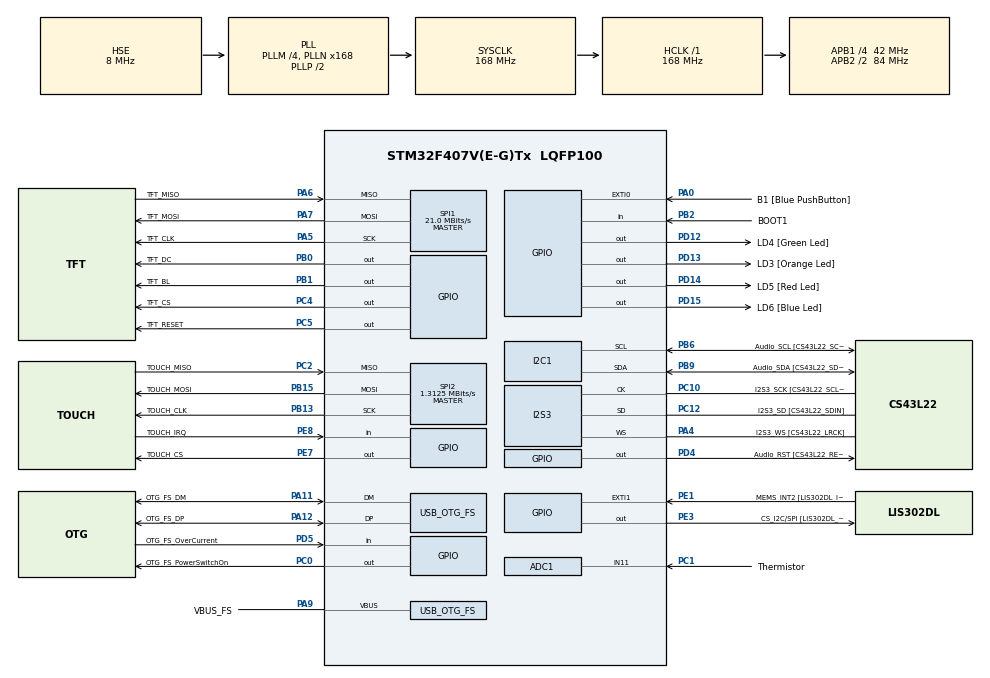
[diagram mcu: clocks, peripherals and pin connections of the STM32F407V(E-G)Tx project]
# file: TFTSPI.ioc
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ADC1.Channel-0\#ChannelRegularConversion=ADC_CHANNEL_11
ADC1.Channel-1\#ChannelRegularConversion=ADC_CHANNEL_TEMPSENSOR
ADC1.ClockPrescaler=ADC_CLOCK_SYNC_PCLK_DIV8
ADC1.ContinuousConvMode=ENABLE
ADC1.DMAContinuousRequests=ENABLE
ADC1.NbrOfConversion=2
ADC1.NbrOfConversionFlag=1
ADC1.Rank-0\#ChannelRegularConversion=1
ADC1.Rank-1\#ChannelRegularConversion=2
ADC1.SamplingTime-0\#ChannelRegularConversion=ADC_SAMPLETIME_112CYCLES
ADC1.SamplingTime-1\#ChannelRegularConversion=ADC_SAMPLETIME_112CYCLES
ADC1.ScanConvMode=ENABLE
ADC1.master=1
Dma.ADC1.0.Direction=DMA_PERIPH_TO_MEMORY
Dma.ADC1.0.FIFOMode=DMA_FIFOMODE_ENABLE
Dma.ADC1.0.FIFOThreshold=DMA_FIFO_THRESHOLD_FULL
Dma.ADC1.0.Instance=DMA2_Stream0
Dma.ADC1.0.MemBurst=DMA_MBURST_SINGLE
Dma.ADC1.0.MemDataAlignment=DMA_MDATAALIGN_WORD
Dma.ADC1.0.MemInc=DMA_MINC_ENABLE
Dma.ADC1.0.Mode=DMA_CIRCULAR
Dma.ADC1.0.PeriphBurst=DMA_PBURST_SINGLE
Dma.ADC1.0.PeriphDataAlignment=DMA_PDATAALIGN_WORD
Dma.ADC1.0.PeriphInc=DMA_PINC_DISABLE
Dma.ADC1.0.Priority=DMA_PRIORITY_LOW
Dma.Request0=ADC1
I2S3.AudioFreq=I2S_AUDIOFREQ_96K
I2S3.ErrorAudioFreq=1.72 %
I2S3.FullDuplexMode=I2S_FULLDUPLEXMODE_DISABLE
I2S3.Instance=SPI$Index
I2S3.RealAudioFreq=97.656 KHz
I2S3.VirtualMode=I2S_MODE_MASTER
Mcu.Family=STM32F4
Mcu.Name=STM32F407V(E-G)Tx
Mcu.Package=LQFP100
NVIC.DMA2_Stream0_IRQn=true\:0\:0\:false\:false\:true\:false\:true
NVIC.OTG_FS_IRQn=true\:0\:0\:false\:false\:true\:true\:true
NVIC.PriorityGroup=NVIC_PRIORITYGROUP_0
PA0-WKUP.GPIO_Label=B1 [Blue PushButton]
PA0-WKUP.GPIO_ModeDefaultEXTI=GPIO_MODE_EVT_RISING
PA0-WKUP.GPIO_PuPd=GPIO_NOPULL
PA0-WKUP.Signal=GPXTI0
PA10.GPIO_Label=OTG_FS_ID
PA10.GPIO_Mode=GPIO_MODE_AF_PP
PA10.GPIO_PuPd=GPIO_NOPULL
PA10.GPIO_Speed=GPIO_SPEED_FREQ_LOW
PA10.Signal=USB_OTG_FS_ID
PA11.GPIO_Label=OTG_FS_DM
PA11.GPIO_Mode=GPIO_MODE_AF_PP
PA11.GPIO_PuPd=GPIO_NOPULL
PA11.GPIO_Speed=GPIO_SPEED_FREQ_LOW
PA11.Mode=Host_Only
PA11.Signal=USB_OTG_FS_DM
PA12.GPIO_Label=OTG_FS_DP
PA12.GPIO_Mode=GPIO_MODE_AF_PP
PA12.GPIO_PuPd=GPIO_NOPULL
PA12.GPIO_Speed=GPIO_SPEED_FREQ_LOW
PA12.Mode=Host_Only
PA12.Signal=USB_OTG_FS_DP
PA13.GPIO_Label=SWDIO
PA13.Mode=Serial_Wire
PA13.Signal=SYS_JTMS-SWDIO
PA14.GPIO_Label=SWCLK
PA14.Mode=Serial_Wire
PA14.Signal=SYS_JTCK-SWCLK
PA4.GPIO_Label=I2S3_WS [CS43L22_LRCK]
PA4.GPIO_Mode=GPIO_MODE_AF_PP
PA4.GPIO_PuPd=GPIO_NOPULL
PA4.GPIO_Speed=GPIO_SPEED_FREQ_LOW
PA4.Mode=Half_Duplex_Master
PA4.Signal=I2S3_WS
PA5.GPIO_Label=TFT_CLK
PA5.Mode=Full_Duplex_Master
PA5.Signal=SPI1_SCK
PA6.GPIO_Label=TFT_MISO
PA6.GPIO_Mode=GPIO_MODE_AF_PP
PA6.GPIO_PuPd=GPIO_NOPULL
PA6.GPIO_Speed=GPIO_SPEED_FREQ_LOW
PA6.Mode=Full_Duplex_Master
PA6.Signal=SPI1_MISO
PA7.GPIO_Label=TFT_MOSI
PA7.GPIO_Mode=GPIO_MODE_AF_PP
PA7.GPIO_PuPd=GPIO_NOPULL
PA7.GPIO_Speed=GPIO_SPEED_FREQ_LOW
PA7.Mode=Full_Duplex_Master
PA7.Signal=SPI1_MOSI
PA9.GPIO_Label=VBUS_FS
PA9.GPIO_Mode=GPIO_MODE_INPUT
PA9.GPIO_PuPd=GPIO_NOPULL
PA9.Mode=Activate_VBUS
PA9.Signal=USB_OTG_FS_VBUS
PB0.GPIO_Label=TFT_DC
PB0.Signal=GPIO_Output
PB1.GPIO_Label=TFT_BL
PB1.Signal=GPIO_Output
PB10.GPIO_Label=CLK_IN [MP45DT02_CLK]
PB10.GPIO_Mode=GPIO_MODE_AF_PP
PB10.GPIO_PuPd=GPIO_NOPULL
PB10.GPIO_Speed=GPIO_SPEED_FREQ_LOW
PB10.Signal=I2S2_CK
PB13.GPIO_Label=TOUCH_CLK
PB13.Mode=Full_Duplex_Master
PB13.Signal=SPI2_SCK
PB15.GPIO_Label=TOUCH_MOSI
PB15.Mode=Full_Duplex_Master
PB15.Signal=SPI2_MOSI
PB2.GPIO_Label=BOOT1
PB2.GPIO_Mode=GPIO_MODE_INPUT
PB2.GPIO_PuPd=GPIO_NOPULL
PB2.Signal=GPIO_Input
PB3.GPIO_Label=SWO
PB3.Signal=SYS_JTDO-SWO
PB6.GPIO_Label=Audio_SCL [CS43L22_SCL]
PB6.GPIO_Mode=GPIO_MODE_AF_OD
PB6.GPIO_Pu=GPIO_PULLUP
PB6.GPIO_PuPd=GPIO_NOPULL
PB6.GPIO_Speed=GPIO_SPEED_FREQ_LOW
PB6.Mode=I2C
PB6.Signal=I2C1_SCL
PB9.GPIO_Label=Audio_SDA [CS43L22_SDA]
PB9.GPIO_Mode=GPIO_MODE_AF_OD
PB9.GPIO_Pu=GPIO_PULLUP
PB9.GPIO_PuPd=GPIO_NOPULL
PB9.GPIO_Speed=GPIO_SPEED_FREQ_LOW
PB9.Mode=I2C
PB9.Signal=I2C1_SDA
PC0.GPIO_Label=OTG_FS_PowerSwitchOn
PC0.GPIO_PuPd=GPIO_NOPULL
PC0.GPIO_Speed=GPIO_SPEED_FREQ_LOW
PC0.PinState=GPIO_PIN_SET
PC0.Signal=GPIO_Output
PC1.GPIO_Label=Thermistor
PC1.Signal=ADCx_IN11
PC10.GPIO_Label=I2S3_SCK [CS43L22_SCLK]
PC10.GPIO_Mode=GPIO_MODE_AF_PP
PC10.GPIO_PuPd=GPIO_NOPULL
PC10.GPIO_Speed=GPIO_SPEED_FREQ_LOW
PC10.Mode=Half_Duplex_Master
PC10.Signal=I2S3_CK
PC12.GPIO_Label=I2S3_SD [CS43L22_SDIN]
PC12.GPIO_Mode=GPIO_MODE_AF_PP
PC12.GPIO_PuPd=GPIO_NOPULL
PC12.GPIO_Speed=GPIO_SPEED_FREQ_LOW
PC12.Mode=Half_Duplex_Master
PC12.Signal=I2S3_SD
PC14-OSC32_IN.GPIO_Label=PC14-OSC32_IN
PC14-OSC32_IN.Mode=LSE-External-Oscillator
PC14-OSC32_IN.Signal=RCC_OSC32_IN
PC15-OSC32_OUT.GPIO_Label=PC15-OSC32_OUT
PC15-OSC32_OUT.Mode=LSE-External-Oscillator
PC15-OSC32_OUT.Signal=RCC_OSC32_OUT
PC2.GPIO_Label=TOUCH_MISO
PC2.Mode=Full_Duplex_Master
PC2.Signal=SPI2_MISO
PC3.GPIO_Label=PDM_OUT [MP45DT02_DOUT]
PC3.GPIO_Mode=GPIO_MODE_AF_PP
PC3.GPIO_PuPd=GPIO_NOPULL
PC3.GPIO_Speed=GPIO_SPEED_FREQ_LOW
PC3.Signal=I2S2_SD
PC4.GPIO_Label=TFT_CS
PC4.Signal=GPIO_Output
PC5.GPIO_Label=TFT_RESET
PC5.Signal=GPIO_Output
PC7.GPIO_Label=I2S3_MCK [CS43L22_MCLK]
PC7.GPIO_Mode=GPIO_MODE_AF_PP
PC7.GPIO_PuPd=GPIO_NOPULL
PC7.GPIO_Speed=GPIO_SPEED_FREQ_LOW
PC7.Signal=I2S3_MCK
PD12.GPIO_Label=LD4 [Green Led]
PD12.GPIO_PuPd=GPIO_NOPULL
PD12.GPIO_Speed=GPIO_SPEED_FREQ_LOW
PD12.Signal=GPIO_Output
PD13.GPIO_Label=LD3 [Orange Led]
PD13.GPIO_PuPd=GPIO_NOPULL
PD13.GPIO_Speed=GPIO_SPEED_FREQ_LOW
PD13.Signal=GPIO_Output
PD14.GPIO_Label=LD5 [Red Led]
PD14.GPIO_PuPd=GPIO_NOPULL
PD14.GPIO_Speed=GPIO_SPEED_FREQ_LOW
PD14.Signal=GPIO_Output
PD15.GPIO_Label=LD6 [Blue Led]
PD15.GPIO_PuPd=GPIO_NOPULL
PD15.GPIO_Speed=GPIO_SPEED_FREQ_LOW
PD15.Signal=GPIO_Output
PD4.GPIO_Label=Audio_RST [CS43L22_RESET]
PD4.GPIO_PuPd=GPIO_NOPULL
PD4.GPIO_Speed=GPIO_SPEED_FREQ_LOW
PD4.Signal=GPIO_Output
PD5.GPIO_Label=OTG_FS_OverCurrent
PD5.GPIO_Mode=GPIO_MODE_INPUT
PD5.GPIO_PuPd=GPIO_NOPULL
PD5.Signal=GPIO_Input
PE1.GPIO_Label=MEMS_INT2 [LIS302DL_INT2]
PE1.GPIO_ModeDefaultEXTI=GPIO_MODE_EVT_RISING
PE1.GPIO_PuPd=GPIO_NOPULL
PE1.Signal=GPXTI1
PE3.GPIO_Label=CS_I2C/SPI [LIS302DL_CS_I2C/SPI]
PE3.GPIO_PuPd=GPIO_NOPULL
PE3.GPIO_Speed=GPIO_SPEED_FREQ_LOW
PE3.Signal=GPIO_Output
PE7.GPIO_Label=TOUCH_CS
PE7.Signal=GPIO_Output
PE8.GPIO_Label=TOUCH_IRQ
PE8.Signal=GPIO_Input
PH0-OSC_IN.GPIO_Label=PH0-OSC_IN
PH0-OSC_IN.Mode=HSE-External-Oscillator
PH0-OSC_IN.Signal=RCC_OSC_IN
PH1-OSC_OUT.GPIO_Label=PH1-OSC_OUT
PH1-OSC_OUT.Mode=HSE-External-Oscillator
PH1-OSC_OUT.Signal=RCC_OSC_OUT
ProjectManager.HeapSize=0x200
ProjectManager.StackSize=0x400
ProjectManager.TargetToolchain=STM32CubeIDE
RCC.48MHZClocksFreq_Value=48000000
RCC.AHBFreq_Value=168000000
RCC.APB1CLKDivider=RCC_HCLK_DIV4
RCC.APB1Freq_Value=42000000
RCC.APB1TimFreq_Value=84000000
RCC.APB2CLKDivider=RCC_HCLK_DIV2
RCC.APB2Freq_Value=84000000
RCC.APB2TimFreq_Value=168000000
RCC.CortexFreq_Value=168000000
RCC.HCLKFreq_Value=168000000
RCC.HSE_VALUE=8000000
RCC.HSI_VALUE=16000000
RCC.PLLI2SN=50
RCC.PLLM=4
RCC.PLLN=168
RCC.PLLQ=7
RCC.SYSCLKFreq_VALUE=168000000
RCC.SYSCLKSource=RCC_SYSCLKSOURCE_PLLCLK
RCC.VCOOutputFreq_Value=336000000
SH.ADCx_IN11.0=ADC1_IN11,IN11
SPI1.BaudRatePrescaler=SPI_BAUDRATEPRESCALER_4
SPI1.CalculateBaudRate=21.0 MBits/s
SPI1.Direction=SPI_DIRECTION_2LINES
SPI1.Mode=SPI_MODE_MASTER
SPI1.VirtualType=VM_MASTER
SPI2.BaudRatePrescaler=SPI_BAUDRATEPRESCALER_32
SPI2.CalculateBaudRate=1.3125 MBits/s
SPI2.Direction=SPI_DIRECTION_2LINES
SPI2.Mode=SPI_MODE_MASTER
SPI2.VirtualType=VM_MASTER
USB_HOST.BSP.number=1
USB_HOST.USBH_HandleTypeDef-CDC_FS=hUsbHostFS
USB_HOST.VirtualModeFS=Cdc
USB_HOST0.BSP.STBoard=false
USB_HOST0.BSP.api=Unknown
USB_HOST0.BSP.i2caddr=0
USB_HOST0.BSP.i2creg=0
USB_HOST0.BSP.instance=PC0
USB_HOST0.BSP.ip=GPIO
USB_HOST0.BSP.mode=Output
USB_HOST0.BSP.name=Drive_VBUS_FS
USB_HOST0.BSP.solution=PC0
USB_OTG_FS.VirtualMode=Host_Only
USB_OTG_FS.phy_itface=HCD_PHY_EMBEDDED
VP_ADC1_TempSens_Input.Mode=IN-TempSens
VP_CRC_VS_CRC.Mode=CRC_Activate
VP_USB_HOST_VS_USB_HOST_CDC_FS.Mode=CDC_FS
board=STM32F407G-DISC1

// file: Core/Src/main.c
/* USER CODE BEGIN Header */
/**
  ******************************************************************************
  * @file           : main.c
  * @brief          : Main program body
  ******************************************************************************
  * @attention
  *
  * <h2><center>&copy; Copyright (c) 2021 STMicroelectronics.
  * All rights reserved.</center></h2>
  *
  * This software component is licensed by ST under Ultimate Liberty license
  * SLA0044, the "License"; You may not use this file except in compliance with
  * the License. You may obtain a copy of the License at:
  *                             www.st.com/SLA0044
  *
  ******************************************************************************
  */
/* USER CODE END Header */
#include "main.h"
#include "usb_host.h"

/* USER CODE BEGIN Includes */
#include <stdio.h>
#include <math.h>
#include "GUI.h"
#include "DIALOG.h"
/* USER CODE END Includes */

ADC_HandleTypeDef hadc1;
DMA_HandleTypeDef hdma_adc1;

CRC_HandleTypeDef hcrc;

I2C_HandleTypeDef hi2c1;

I2S_HandleTypeDef hi2s3;

SPI_HandleTypeDef hspi1;
SPI_HandleTypeDef hspi2;

/* USER CODE BEGIN PV */
uint32_t thermValue = 0;
uint32_t tempValue = 0;

uint32_t dataArray[200];

float thermistorTemperature = 0.0;
float dieTemperature = 0.0;

char dataOut[16];

extern const GUI_BITMAP bmlemmling_Cartoon_penguin_small;
/* USER CODE END PV */

void SystemClock_Config(void);
static void MX_GPIO_Init(void);
static void MX_I2C1_Init(void);
static void MX_I2S3_Init(void);
static void MX_SPI1_Init(void);
static void MX_DMA_Init(void);
static void MX_ADC1_Init(void);
static void MX_SPI2_Init(void);
static void MX_CRC_Init(void);
void MX_USB_HOST_Process(void);

/* USER CODE BEGIN PFP */
int __io_putchar(int ch);
float  approximateTemperatureFloat(unsigned int analogReadValue);
float GetDieTemp(uint32_t reading);
/* USER CODE END PFP */

int main(void)
{
  /* USER CODE BEGIN 1 */
	//GUI_HSPRITE hSprite;
  /* USER CODE END 1 */

  /* MCU Configuration--------------------------------------------------------*/

  /* Reset of all peripherals, Initializes the Flash interface and the Systick. */
  HAL_Init();

  /* Configure the system clock */
  SystemClock_Config();

  /* Initialize all configured peripherals */
  MX_GPIO_Init();
  MX_I2C1_Init();
  MX_I2S3_Init();
  MX_SPI1_Init();
  MX_USB_HOST_Init();
  MX_DMA_Init();
  MX_ADC1_Init();
  MX_SPI2_Init();
  MX_CRC_Init();
  /* USER CODE BEGIN 2 */
  GUI_Init();

  GUI_SetBkColor(GUI_BLUE);
  GUI_Clear();
  GUI_SetFont(&GUI_Font32B_ASCII);
  GUI_SetColor(GUI_YELLOW);

#ifdef ILI9341
  GUI_DispStringHCenterAt("ECET260", 160, 50);
  GUI_DispStringHCenterAt("Mel Dundas", 160, 100);
#elif defined ILI9488
  GUI_DispStringHCenterAt("ECET260", 240, 50);
  GUI_DispStringHCenterAt("Mel Dundas", 240, 100);
#else // defined ST7735
  GUI_SetFont(&GUI_Font20B_ASCII);
  GUI_DispStringHCenterAt("ECET260", 80, 20);
  GUI_DispStringHCenterAt("Mel Dundas", 80, 50);
#endif
  //GUI_SetFont(&GUI_FontD24x32);
  GUI_SetFont(&GUI_Font32B_1);
  GUI_SetColor(GUI_WHITE);

  //hSprite = GUI_DRAW_BITMAP_Create(&bmlemmling_Cartoon_penguin_small, 160-30,120-30);
  //GUI_DRAW_BITMAP_Create(&bmlemmling_Cartoon_penguin_small, 160-30,120-30);

  /* USER CODE END 2 */

  /* Infinite loop */
  /* USER CODE BEGIN WHILE */

  HAL_ADC_Start_DMA(&hadc1, dataArray, 200);

  while (1)
  {

	  HAL_GPIO_TogglePin(LD3_GPIO_Port, LD3_Pin);
	  HAL_Delay(500);

	  thermValue = 0;
	  tempValue = 0;

	  for(int i=0;i<200;i+=2)
	  {
		  thermValue += dataArray[i];
	  }

	  for(int i=1;i<200;i+=2)
	  {
		  tempValue +=dataArray[i];
	  }

	  thermistorTemperature = approximateTemperatureFloat(thermValue /= 100);
	  dieTemperature = GetDieTemp(tempValue /= 100);

	  printf("Thermistor value: %ld, Temp: %0.1f", thermValue, thermistorTemperature );
	  printf("    Die value: %ld, Die Temp: %0.1f\n", tempValue, dieTemperature);

	  sprintf(dataOut, "%0.1f %cC", thermistorTemperature, 176);

#ifdef ILI9488
	  GUI_DispStringHCenterAt(dataOut, 240,  200);
#elif defined  ST7735
	  GUI_DispStringHCenterAt(dataOut, 80,  80);
#else
	  GUI_DispStringHCenterAt(dataOut, 160,  180);
#endif
	  GUI_Exec();

	  GUI_Delay(200);

    /* USER CODE END WHILE */
    MX_USB_HOST_Process();

  }
}

void SystemClock_Config(void)
{
  RCC_OscInitTypeDef RCC_OscInitStruct = {0};
  RCC_ClkInitTypeDef RCC_ClkInitStruct = {0};

  /** Configure the main internal regulator output voltage
  */
  __HAL_RCC_PWR_CLK_ENABLE();
  __HAL_PWR_VOLTAGESCALING_CONFIG(PWR_REGULATOR_VOLTAGE_SCALE1);
  /** Initializes the RCC Oscillators according to the specified parameters
  * in the RCC_OscInitTypeDef structure.
  */
  RCC_OscInitStruct.OscillatorType = RCC_OSCILLATORTYPE_HSE;
  RCC_OscInitStruct.HSEState = RCC_HSE_ON;
  RCC_OscInitStruct.PLL.PLLState = RCC_PLL_ON;
  RCC_OscInitStruct.PLL.PLLSource = RCC_PLLSOURCE_HSE;
  RCC_OscInitStruct.PLL.PLLM = 4;
  RCC_OscInitStruct.PLL.PLLN = 168;
  RCC_OscInitStruct.PLL.PLLP = RCC_PLLP_DIV2;
  RCC_OscInitStruct.PLL.PLLQ = 7;
  if (HAL_RCC_OscConfig(&RCC_OscInitStruct) != HAL_OK)
  {
    Error_Handler();
  }
  /** Initializes the CPU, AHB and APB buses clocks
  */
  RCC_ClkInitStruct.ClockType = RCC_CLOCKTYPE_HCLK|RCC_CLOCKTYPE_SYSCLK
                              |RCC_CLOCKTYPE_PCLK1|RCC_CLOCKTYPE_PCLK2;
  RCC_ClkInitStruct.SYSCLKSource = RCC_SYSCLKSOURCE_PLLCLK;
  RCC_ClkInitStruct.AHBCLKDivider = RCC_SYSCLK_DIV1;
  RCC_ClkInitStruct.APB1CLKDivider = RCC_HCLK_DIV4;
  RCC_ClkInitStruct.APB2CLKDivider = RCC_HCLK_DIV2;

  if (HAL_RCC_ClockConfig(&RCC_ClkInitStruct, FLASH_LATENCY_5) != HAL_OK)
  {
    Error_Handler();
  }
}

static void MX_ADC1_Init(void)
{

  ADC_ChannelConfTypeDef sConfig = {0};

  /** Configure the global features of the ADC (Clock, Resolution, Data Alignment and number of conversion)
  */
  hadc1.Instance = ADC1;
  hadc1.Init.ClockPrescaler = ADC_CLOCK_SYNC_PCLK_DIV8;
  hadc1.Init.Resolution = ADC_RESOLUTION_12B;
  hadc1.Init.ScanConvMode = ENABLE;
  hadc1.Init.ContinuousConvMode = ENABLE;
  hadc1.Init.DiscontinuousConvMode = DISABLE;
  hadc1.Init.ExternalTrigConvEdge = ADC_EXTERNALTRIGCONVEDGE_NONE;
  hadc1.Init.ExternalTrigConv = ADC_SOFTWARE_START;
  hadc1.Init.DataAlign = ADC_DATAALIGN_RIGHT;
  hadc1.Init.NbrOfConversion = 2;
  hadc1.Init.DMAContinuousRequests = ENABLE;
  hadc1.Init.EOCSelection = ADC_EOC_SINGLE_CONV;
  if (HAL_ADC_Init(&hadc1) != HAL_OK)
  {
    Error_Handler();
  }
  /** Configure for the selected ADC regular channel its corresponding rank in the sequencer and its sample time.
  */
  sConfig.Channel = ADC_CHANNEL_11;
  sConfig.Rank = 1;
  sConfig.SamplingTime = ADC_SAMPLETIME_112CYCLES;
  if (HAL_ADC_ConfigChannel(&hadc1, &sConfig) != HAL_OK)
  {
    Error_Handler();
  }
  /** Configure for the selected ADC regular channel its corresponding rank in the sequencer and its sample time.
  */
  sConfig.Channel = ADC_CHANNEL_TEMPSENSOR;
  sConfig.Rank = 2;
  if (HAL_ADC_ConfigChannel(&hadc1, &sConfig) != HAL_OK)
  {
    Error_Handler();
  }

}

static void MX_CRC_Init(void)
{

  hcrc.Instance = CRC;
  if (HAL_CRC_Init(&hcrc) != HAL_OK)
  {
    Error_Handler();
  }

}

static void MX_I2C1_Init(void)
{

  hi2c1.Instance = I2C1;
  hi2c1.Init.ClockSpeed = 100000;
  hi2c1.Init.DutyCycle = I2C_DUTYCYCLE_2;
  hi2c1.Init.OwnAddress1 = 0;
  hi2c1.Init.AddressingMode = I2C_ADDRESSINGMODE_7BIT;
  hi2c1.Init.DualAddressMode = I2C_DUALADDRESS_DISABLE;
  hi2c1.Init.OwnAddress2 = 0;
  hi2c1.Init.GeneralCallMode = I2C_GENERALCALL_DISABLE;
  hi2c1.Init.NoStretchMode = I2C_NOSTRETCH_DISABLE;
  if (HAL_I2C_Init(&hi2c1) != HAL_OK)
  {
    Error_Handler();
  }

}

static void MX_I2S3_Init(void)
{

  hi2s3.Instance = SPI3;
  hi2s3.Init.Mode = I2S_MODE_MASTER_TX;
  hi2s3.Init.Standard = I2S_STANDARD_PHILIPS;
  hi2s3.Init.DataFormat = I2S_DATAFORMAT_16B;
  hi2s3.Init.MCLKOutput = I2S_MCLKOUTPUT_DISABLE;
  hi2s3.Init.AudioFreq = I2S_AUDIOFREQ_96K;
  hi2s3.Init.CPOL = I2S_CPOL_LOW;
  hi2s3.Init.ClockSource = I2S_CLOCK_PLL;
  hi2s3.Init.FullDuplexMode = I2S_FULLDUPLEXMODE_DISABLE;
  if (HAL_I2S_Init(&hi2s3) != HAL_OK)
  {
    Error_Handler();
  }

}

static void MX_SPI1_Init(void)
{

  /* SPI1 parameter configuration*/
  hspi1.Instance = SPI1;
  hspi1.Init.Mode = SPI_MODE_MASTER;
  hspi1.Init.Direction = SPI_DIRECTION_2LINES;
  hspi1.Init.DataSize = SPI_DATASIZE_8BIT;
  hspi1.Init.CLKPolarity = SPI_POLARITY_LOW;
  hspi1.Init.CLKPhase = SPI_PHASE_1EDGE;
  hspi1.Init.NSS = SPI_NSS_SOFT;
  hspi1.Init.BaudRatePrescaler = SPI_BAUDRATEPRESCALER_4;
  hspi1.Init.FirstBit = SPI_FIRSTBIT_MSB;
  hspi1.Init.TIMode = SPI_TIMODE_DISABLE;
  hspi1.Init.CRCCalculation = SPI_CRCCALCULATION_DISABLE;
  hspi1.Init.CRCPolynomial = 10;
  if (HAL_SPI_Init(&hspi1) != HAL_OK)
  {
    Error_Handler();
  }

}

static void MX_SPI2_Init(void)
{

  /* SPI2 parameter configuration*/
  hspi2.Instance = SPI2;
  hspi2.Init.Mode = SPI_MODE_MASTER;
  hspi2.Init.Direction = SPI_DIRECTION_2LINES;
  hspi2.Init.DataSize = SPI_DATASIZE_8BIT;
  hspi2.Init.CLKPolarity = SPI_POLARITY_LOW;
  hspi2.Init.CLKPhase = SPI_PHASE_1EDGE;
  hspi2.Init.NSS = SPI_NSS_SOFT;
  hspi2.Init.BaudRatePrescaler = SPI_BAUDRATEPRESCALER_32;
  hspi2.Init.FirstBit = SPI_FIRSTBIT_MSB;
  hspi2.Init.TIMode = SPI_TIMODE_DISABLE;
  hspi2.Init.CRCCalculation = SPI_CRCCALCULATION_DISABLE;
  hspi2.Init.CRCPolynomial = 10;
  if (HAL_SPI_Init(&hspi2) != HAL_OK)
  {
    Error_Handler();
  }

}

static void MX_DMA_Init(void)
{

  /* DMA controller clock enable */
  __HAL_RCC_DMA2_CLK_ENABLE();

  /* DMA interrupt init */
  /* DMA2_Stream0_IRQn interrupt configuration */
  HAL_NVIC_SetPriority(DMA2_Stream0_IRQn, 0, 0);
  HAL_NVIC_EnableIRQ(DMA2_Stream0_IRQn);

}

static void MX_GPIO_Init(void)
{
  GPIO_InitTypeDef GPIO_InitStruct = {0};

  /* GPIO Ports Clock Enable */
  __HAL_RCC_GPIOE_CLK_ENABLE();
  __HAL_RCC_GPIOC_CLK_ENABLE();
  __HAL_RCC_GPIOH_CLK_ENABLE();
  __HAL_RCC_GPIOA_CLK_ENABLE();
  __HAL_RCC_GPIOB_CLK_ENABLE();
  __HAL_RCC_GPIOD_CLK_ENABLE();

  /*Configure GPIO pin Output Level */
  HAL_GPIO_WritePin(GPIOE, CS_I2C_SPI_Pin|TOUCH_CS_Pin, GPIO_PIN_RESET);

  /*Configure GPIO pin Output Level */
  HAL_GPIO_WritePin(OTG_FS_PowerSwitchOn_GPIO_Port, OTG_FS_PowerSwitchOn_Pin, GPIO_PIN_SET);

  /*Configure GPIO pin Output Level */
  HAL_GPIO_WritePin(GPIOC, TFT_CS_Pin|TFT_RESET_Pin, GPIO_PIN_RESET);

  /*Configure GPIO pin Output Level */
  HAL_GPIO_WritePin(GPIOB, TFT_DC_Pin|TFT_BL_Pin, GPIO_PIN_RESET);

  /*Configure GPIO pin Output Level */
  HAL_GPIO_WritePin(GPIOD, LD4_Pin|LD3_Pin|LD5_Pin|LD6_Pin
                          |Audio_RST_Pin, GPIO_PIN_RESET);

  /*Configure GPIO pins : CS_I2C_SPI_Pin TOUCH_CS_Pin */
  GPIO_InitStruct.Pin = CS_I2C_SPI_Pin|TOUCH_CS_Pin;
  GPIO_InitStruct.Mode = GPIO_MODE_OUTPUT_PP;
  GPIO_InitStruct.Pull = GPIO_NOPULL;
  GPIO_InitStruct.Speed = GPIO_SPEED_FREQ_LOW;
  HAL_GPIO_Init(GPIOE, &GPIO_InitStruct);

  /*Configure GPIO pins : OTG_FS_PowerSwitchOn_Pin TFT_CS_Pin TFT_RESET_Pin */
  GPIO_InitStruct.Pin = OTG_FS_PowerSwitchOn_Pin|TFT_CS_Pin|TFT_RESET_Pin;
  GPIO_InitStruct.Mode = GPIO_MODE_OUTPUT_PP;
  GPIO_InitStruct.Pull = GPIO_NOPULL;
  GPIO_InitStruct.Speed = GPIO_SPEED_FREQ_LOW;
  HAL_GPIO_Init(GPIOC, &GPIO_InitStruct);

  /*Configure GPIO pin : PDM_OUT_Pin */
  GPIO_InitStruct.Pin = PDM_OUT_Pin;
  GPIO_InitStruct.Mode = GPIO_MODE_AF_PP;
  GPIO_InitStruct.Pull = GPIO_NOPULL;
  GPIO_InitStruct.Speed = GPIO_SPEED_FREQ_LOW;
  GPIO_InitStruct.Alternate = GPIO_AF5_SPI2;
  HAL_GPIO_Init(PDM_OUT_GPIO_Port, &GPIO_InitStruct);

  /*Configure GPIO pin : B1_Pin */
  GPIO_InitStruct.Pin = B1_Pin;
  GPIO_InitStruct.Mode = GPIO_MODE_EVT_RISING;
  GPIO_InitStruct.Pull = GPIO_NOPULL;
  HAL_GPIO_Init(B1_GPIO_Port, &GPIO_InitStruct);

  /*Configure GPIO pins : TFT_DC_Pin TFT_BL_Pin */
  GPIO_InitStruct.Pin = TFT_DC_Pin|TFT_BL_Pin;
  GPIO_InitStruct.Mode = GPIO_MODE_OUTPUT_PP;
  GPIO_InitStruct.Pull = GPIO_NOPULL;
  GPIO_InitStruct.Speed = GPIO_SPEED_FREQ_LOW;
  HAL_GPIO_Init(GPIOB, &GPIO_InitStruct);

  /*Configure GPIO pin : BOOT1_Pin */
  GPIO_InitStruct.Pin = BOOT1_Pin;
  GPIO_InitStruct.Mode = GPIO_MODE_INPUT;
  GPIO_InitStruct.Pull = GPIO_NOPULL;
  HAL_GPIO_Init(BOOT1_GPIO_Port, &GPIO_InitStruct);

  /*Configure GPIO pin : TOUCH_IRQ_Pin */
  GPIO_InitStruct.Pin = TOUCH_IRQ_Pin;
  GPIO_InitStruct.Mode = GPIO_MODE_INPUT;
  GPIO_InitStruct.Pull = GPIO_NOPULL;
  HAL_GPIO_Init(TOUCH_IRQ_GPIO_Port, &GPIO_InitStruct);

  /*Configure GPIO pin : CLK_IN_Pin */
  GPIO_InitStruct.Pin = CLK_IN_Pin;
  GPIO_InitStruct.Mode = GPIO_MODE_AF_PP;
  GPIO_InitStruct.Pull = GPIO_NOPULL;
  GPIO_InitStruct.Speed = GPIO_SPEED_FREQ_LOW;
  GPIO_InitStruct.Alternate = GPIO_AF5_SPI2;
  HAL_GPIO_Init(CLK_IN_GPIO_Port, &GPIO_InitStruct);

  /*Configure GPIO pins : LD4_Pin LD3_Pin LD5_Pin LD6_Pin
                           Audio_RST_Pin */
  GPIO_InitStruct.Pin = LD4_Pin|LD3_Pin|LD5_Pin|LD6_Pin
                          |Audio_RST_Pin;
  GPIO_InitStruct.Mode = GPIO_MODE_OUTPUT_PP;
  GPIO_InitStruct.Pull = GPIO_NOPULL;
  GPIO_InitStruct.Speed = GPIO_SPEED_FREQ_LOW;
  HAL_GPIO_Init(GPIOD, &GPIO_InitStruct);

  /*Configure GPIO pin : OTG_FS_OverCurrent_Pin */
  GPIO_InitStruct.Pin = OTG_FS_OverCurrent_Pin;
  GPIO_InitStruct.Mode = GPIO_MODE_INPUT;
  GPIO_InitStruct.Pull = GPIO_NOPULL;
  HAL_GPIO_Init(OTG_FS_OverCurrent_GPIO_Port, &GPIO_InitStruct);

  /*Configure GPIO pin : MEMS_INT2_Pin */
  GPIO_InitStruct.Pin = MEMS_INT2_Pin;
  GPIO_InitStruct.Mode = GPIO_MODE_EVT_RISING;
  GPIO_InitStruct.Pull = GPIO_NOPULL;
  HAL_GPIO_Init(MEMS_INT2_GPIO_Port, &GPIO_InitStruct);

}

/* USER CODE BEGIN 4 */
int __io_putchar(int ch)
{
	ITM_SendChar(ch);

	return 0;
}

// <== AFTER PASTING IN YOUR CODE THERE MIGHT BE A QUOTE MARK HERE, DELETE IT
// ~~~~~~~~~~~~~~~~~~~~~~~~~~~~~~~~~~~~~~~~~~~~~~~~~~~~~~~~~~~~~~~~~~~~~~~~~~~~~
// ADC Value to Temperature for NTC Thermistor.
// Author: James Sleeman http://sparks.gogo.co.nz/ntc.html
// Licence: BSD (see footer for legalese)
//
// Thermistor characteristics:
//   Nominal Resistance 100000 at 25°C
//   Beta Value 3950
//
// Usage Examples:
//   float bestAccuracyTemperature    = convertAnalogToTemperature(analogRead(analogPin));
//   float lesserAccuracyTemperature  = approximateTemperatureFloat(analogRead(analogPin));
//   int   lowestAccuracyTemperature  = approximateTemperatureInt(analogRead(analogPin));
//
// Better accuracy = more resource (memory, flash) demands, the approximation methods
// will only produce reasonable results in the range 1-40°C
//
//
// Thermistor Wiring:
//   Vcc -> [10000 Ohm Resistor] -> Thermistor -> Gnd
//                             |
//                             \-> analogPin
//
// ~~~~~~~~~~~~~~~~~~~~~~~~~~~~~~~~~~~~~~~~~~~~~~~~~~~~~~~~~~~~~~~~~~~~~~~~~~~~~

/** Calculate the temperature in °C from ADC (analogRead) value (best accuracy).
 *
 *  This conversion should generate reasonably accurate results over the entire range of
 *  the thermistor, it implements the common 'Beta' approximation for a thermistor
 *  having Beta of 3950, and nominal values of 100000Ω at 25°C
 *
 *  @param   The result of an ADC conversion (analogRead) in the range 0 to 4095
 *  @return  Temperature in °C
 */

float  convertAnalogToTemperature(unsigned int analogReadValue)
{
  // If analogReadValue is 4095, we would otherwise cause a Divide-By-Zero,
  // Treat as crazy out-of-range temperature.
  if(analogReadValue == 4095) return 1000.0;

  return (1/((log(((10000.0 * analogReadValue) / (4095.0 - analogReadValue))/100000.0)/3950.0) + (1 / (273.15 + 25.000)))) - 273.15;
}

/** Approximate the temperature in °C from ADC (analogRead) value, using floating-point math.
 *
 *  This approximation uses floating point math, but much less complex so may be useful for
 *  improved performance, reducing program memory consumption, and reducing runtime memory
 *  usage.
 *
 *  This conversion has the following caveats...
 *    Suitable Range              : 1°C to 40°C
 *    Average Error (Within Range): +/- 1.523 °C°C
 *    Maximum Error (Within Range): 3.994 °C°C
 *
 *  This approximation implements a linear regression of the Beta approximation
 *  for a thermistor having Beta of 3950, and nominal values of 100000Ω at
 *  25°C calculated for temperatures across the range above.
 *
 * @param   The result of an ADC conversion (analogRead) in the range 0 to 4095
 * @return  Temperature in °C (+/- 3.994 °C)
 */

float  approximateTemperatureFloat(unsigned int analogReadValue)
{
  return -0.0732166185636231*analogReadValue+295.737217355;
}

/** Approximate the temperature in °C from ADC (analogRead) value, using integer math.
 *
 *  This approximation uses only integer math, so has a subsequent resolution of
 *  of only 1°C, but for very small microcontrollers this is useful as floating point
 *  math eats your program memory.
 *
 *  This conversion has the following caveats...
 *    Suitable Range              : 1°C to 40°C
 *    Average Error (Within Range): +/- 1.565 °C°C
 *    Maximum Error (Within Range): 4.000 °C°C
 *
 *  This approximation implements a linear regression of the Beta approximation
 *  for a thermistor having Beta of 3950, and nominal values of 100000Ω at
 *  25°C calculated for temperatures across the range above.
 *
 * @param   The result of an ADC conversion (analogRead) in the range 0 to 4095
 * @return  Temperature in °C (+/- 4.000 °C)
 */

int approximateTemperatureInt(unsigned int analogReadValue)
{
  return ((((((long)analogReadValue*7) / -96)) + 296)) - 2;
}

// ~~~~~~~~~~~~~~~~~~~~~~~~~~~~~~~~~~~~~~~~~~~~~~~~~~~~~~~~~~~~~~~~~~~~~~~~~~~~~
// Legal Mumbo Jumo Follows, in short: do whatever you want, just don't sue me.
// ~~~~~~~~~~~~~~~~~~~~~~~~~~~~~~~~~~~~~~~~~~~~~~~~~~~~~~~~~~~~~~~~~~~~~~~~~~~~~
// Copyright © 2021 James Sleeman. All Rights Reserved.
//
// Redistribution and use in source and binary forms, with or without
// modification, are permitted provided that the following conditions are met:
//
// 1. Redistributions of source code must retain the above copyright notice,
//  this list of conditions and the following disclaimer.
//
// 2. Redistributions in binary form must reproduce the above copyright notice,
//  this list of conditions and the following disclaimer in the documentation
//  and/or other materials provided with the distribution.
//
// 3. The name of the author may not be used to endorse or promote products
//  derived from this software without specific prior written permission.
//
// THIS SOFTWARE IS PROVIDED BY James Sleeman AS IS AND ANY EXPRESS OR IMPLIED
//  WARRANTIES, INCLUDING, BUT NOT LIMITED TO, THE IMPLIED WARRANTIES OF
//  MERCHANTABILITY AND FITNESS FOR A PARTICULAR PURPOSE ARE DISCLAIMED. IN NO
//  EVENT SHALL THE AUTHOR BE LIABLE FOR ANY DIRECT, INDIRECT, INCIDENTAL,
//  SPECIAL, EXEMPLARY, OR CONSEQUENTIAL DAMAGES (INCLUDING, BUT NOT LIMITED
//  TO, PROCUREMENT OF SUBSTITUTE GOODS OR SERVICES; LOSS OF USE, DATA, OR
//  PROFITS; OR BUSINESS INTERRUPTION) HOWEVER CAUSED AND ON ANY THEORY OF
//  LIABILITY, WHETHER IN CONTRACT, STRICT LIABILITY, OR TORT (INCLUDING
//  NEGLIGENCE OR OTHERWISE) ARISING IN ANY WAY OUT OF THE USE OF THIS SOFTWARE,
//  EVEN IF ADVISED OF THE POSSIBILITY OF SUCH DAMAGE.
//
// ~~~~~~~~~~~~~~~~~~~~~~~~~~~~~~~~~~~~~~~~~~~~~~~~~~~~~~~~~~~~~~~~~~~~~~~~~~~~~"

//void HAL_ADC_ConvCpltCallback(ADC_HandleTypeDef* hadc)
//{
//	static int tempCount = 0;
//	static int thermCount = 0;
//
//	if(hadc == &hadc1)
//	{
//		tempArray[tempCount] = HAL_ADC_GetValue(&hadc1);
//		tempCount++;
//		tempCount%=16;
//	}
//	else
//	{
//		thermArray[thermCount] = HAL_ADC_GetValue(&hadc3);
//		thermCount++;
//		thermCount%=16;
//	}
//
//
//}

float GetDieTemp(uint32_t reading)
{
//	Calculate the temperature using the following formula:
//	Temperature (in °C) = {(V SENSE – V 25 ) / Avg_Slope} + 25
//	Where:
//	– V 25 = V SENSE value for 25° C
//	– Avg_Slope = average slope of the temperature vs. V SENSE curve (given in mV/°C
//	or µV/°C)
// V 25 = 0.76V from DS8626 Datasheet
// Avg Slope = 2.5mV/°C

	float Vsense = reading * 3.0 /4095;
	float temp = (Vsense - 0.76)/0.0025 + 25;

	return temp;

}
/* USER CODE END 4 */

void Error_Handler(void)
{
  __disable_irq();
  while (1)
  {
  }
}

/************************ (C) COPYRIGHT STMicroelectronics *****END OF FILE****/
